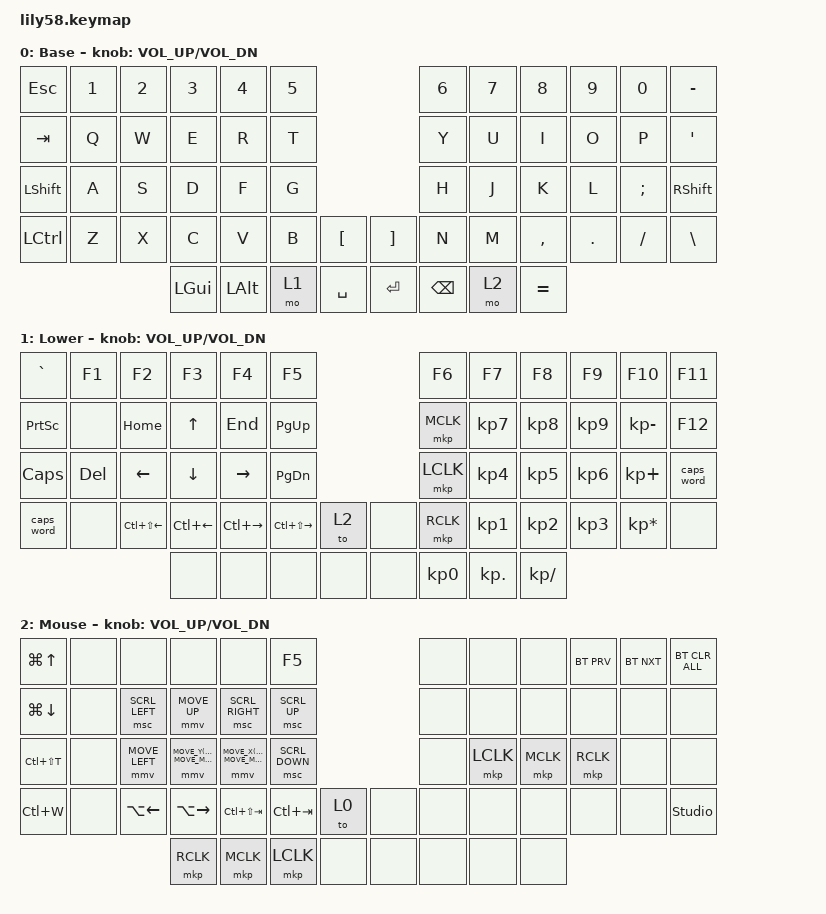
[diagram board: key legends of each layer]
/*
 * Copyright (c) 2020 The ZMK Contributors
 *
 * SPDX-License-Identifier: MIT
 */

#define default_layer 0
#define lower_layer 1
#define raise_layer 2
#define adjust_layer 3
#define extra_layer 4

//mouse movement code

#include <dt-bindings/zmk/mouse.h>
#include <behaviors.dtsi>
#include <dt-bindings/zmk/bt.h>
#include <dt-bindings/zmk/keys.h>
#include <dt-bindings/zmk/pointing.h>

#define MOUSE_TIME_TO_MAX_SPEED 750 //ms
#define U_MOUSE_MOVE_MAX 1500

#undef MOVE_UP
#undef MOVE_DOWN
#undef MOVE_LEFT
#undef MOVE_RIGHT

#define MOVE_UP MOVE_Y(-U_MOUSE_MOVE_MAX)
#define MOVE_DOWN MOVE_Y(U_MOUSE_MOVE_MAX)
#define MOVE_LEFT MOVE_X(-U_MOUSE_MOVE_MAX)
#define MOVE_RIGHT MOVE_X(U_MOUSE_MOVE_MAX)

&mmv { time-to-max-speed-ms = <MOUSE_TIME_TO_MAX_SPEED>; };

//end mouse movement code

/ {
    macros {
        Keyboard_Shortcuts: Keyboard_Shortcuts {
            compatible = "zmk,behavior-macro";
            #binding-cells = <0>;
            bindings = <&kp H &kp T &kp T &kp P &kp S &kp COLON &kp FSLH &kp FSLH &kp E &kp N &kp DOT &kp W &kp I &kp K &kp I &kp P &kp E &kp D &kp I &kp A &kp DOT &kp O &kp R &kp G &kp FSLH &kp W &kp I &kp K &kp I &kp FSLH &kp T &kp A &kp B &kp L &kp E &kp UNDER &kp O &kp F &kp UNDER &kp K &kp E &kp Y &kp B &kp O &kp A &kp R &kp D &kp UNDER &kp S &kp H &kp O &kp R &kp T &kp C &kp U &kp T &kp S>;
            label = "KEYBOARD_SHORTCUTS";
        };
    };

    keymap {
        compatible = "zmk,keymap";

        default_layer {
            display-name = "Base";

            // ------------------------------------------------------------------------------------------------------------
            // |  ESC  |  1  |  2  |  3   |  4   |  5   |                   |  6   |  7    |  8    |  9   |   0   |   `   |
            // |  TAB  |  Q  |  W  |  E   |  R   |  T   |                   |  Y   |  U    |  I    |  O   |   P   |   -   |
            // |  CTRL |  A  |  S  |  D   |  F   |  G   |                   |  H   |  J    |  K    |  L   |   ;   |   '   |
            // | SHIFT |  Z  |  X  |  C   |  V   |  B   |   "["  |  |  "]"  |  N   |  M    |  ,    |  .   |   /   | SHIFT |
            //                     | ALT  | GUI  | LOWER|  SPACE |  | ENTER | RAISE| BSPC  | GUI   |

            bindings = <
&kp ESC           &kp N1  &kp N2  &kp N3        &kp N4        &kp N5                         &kp N6         &kp N7  &kp N8     &kp N9   &kp N0    &kp MINUS
&kp TAB           &kp Q   &kp W   &kp E         &kp R         &kp T                          &kp Y          &kp U   &kp I      &kp O    &kp P     &kp APOS
&kp LEFT_SHIFT    &kp A   &kp S   &kp D         &kp F         &kp G                          &kp H          &kp J   &kp K      &kp L    &kp SEMI  &kp RIGHT_SHIFT
&kp LEFT_CONTROL  &kp Z   &kp X   &kp C         &kp V         &kp B   &kp LBKT     &kp RBKT  &kp N          &kp M   &kp COMMA  &kp DOT  &kp FSLH  &kp BSLH
                                  &kp LEFT_GUI  &kp LEFT_ALT  &mo 1   &kp SPACE    &kp RET   &kp BACKSPACE  &mo 2   &kp EQUAL
            >;

            sensor-bindings = <&inc_dec_kp C_VOL_UP C_VOL_DN>;
        };

        Lower_Layer {
            display-name = "Lower";

            // ------------------------------------------------------------------------------------------------------------
            // | BTCLR | BT1 | BT2 |  BT3 |  BT4 |  BT5 |                   |      |       |       |      |       |       |
            // |  F1   |  F2 |  F3 |  F4  |  F5  |  F6  |                   |  F7  |  F8   |  F9   |  F10 |  F11  |  F12  |
            // |   `   |  !  |  @  |  #   |  $   |  %   |                   |  ^   |  &    |  *    |  (   |   )   |   ~   |
            // |       |     |     |      |      |      |        |  |       |      |  _    |  +    |  {   |   }   |  "|"  |
            //                     |      |      |      |        |  |       |      |       |       |

            bindings = <
&kp GRAVE        &kp F1      &kp F2                  &kp F3              &kp F4               &kp F5                                   &kp F6     &kp F7      &kp F8         &kp F9     &kp F10          &kp F11
&kp PRINTSCREEN  &none       &kp HOME                &kp UP_ARROW        &kp END              &kp PAGE_UP                              &mkp MCLK  &kp KP_N7   &kp KP_N8      &kp KP_N9  &kp KP_MINUS     &kp F12
&kp CAPS         &kp DELETE  &kp LEFT                &kp DOWN_ARROW      &kp RIGHT_ARROW      &kp PAGE_DOWN                            &mkp LCLK  &kp KP_N4   &kp KP_N5      &kp KP_N6  &kp KP_PLUS      &caps_word
&caps_word       &none       &kp LC(LS(LEFT_ARROW))  &kp LC(LEFT_ARROW)  &kp LC(RIGHT_ARROW)  &kp LC(LS(RIGHT_ARROW))  &to 2    &none  &mkp RCLK  &kp KP_N1   &kp KP_N2      &kp KP_N3  &kp KP_MULTIPLY  &none
                                                     &none               &none                &none                    &none    &none  &kp KP_N0  &kp KP_DOT  &kp KP_DIVIDE
            >;

            sensor-bindings = <&inc_dec_kp C_VOL_UP C_VOL_DN>;
        };

        Mouse_Layer {
            display-name = "Mouse";

            // ------------------------------------------------------------------------------------------------------------
            // |       |     |     |      |      |      |                   |      |       |       |      |       |       |
            // |   `   |  1  |  2  |  3   |  4   |  5   |                   |  6   |   7   |   8   |  9   |   0   |       |
            // |   F1  |  F2 |  F3 |  F4  |  F5  |  F6  |                   |      |   <-  |   v   |  ^   |  ->   |       |
            // |   F7  |  F8 |  F9 |  F10 |  F11 |  F12 |        |  |       |  +   |   -   |   =   |  [   |   ]   |   \   |
            //                     |      |      |      |        |  |       |      |       |       |

            bindings = <
&kp LG(UP_ARROW)  &none  &none               &none                &none            &kp F5                          &none  &none      &none      &bt BT_PRV  &bt BT_NXT  &bt BT_CLR_ALL
&kp LG(DOWN)      &none  &msc SCRL_LEFT      &mmv MOVE_UP         &msc SCRL_RIGHT  &msc SCRL_UP                    &none  &none      &none      &none       &none       &none
&kp LC(LS(T))     &none  &mmv MOVE_LEFT      &mmv MOVE_DOWN       &mmv MOVE_RIGHT  &msc SCRL_DOWN                  &none  &mkp LCLK  &mkp MCLK  &mkp RCLK   &none       &none
&kp LC(W)         &none  &kp LA(LEFT_ARROW)  &kp LA(RIGHT_ARROW)  &kp LC(LS(TAB))  &kp LC(TAB)     &to 0    &none  &none  &none      &none      &none       &none       &studio_unlock
                                             &mkp RCLK            &mkp MCLK        &mkp LCLK       &none    &none  &none  &none      &none
            >;

            sensor-bindings = <&inc_dec_kp C_VOL_UP C_VOL_DN>;
        };
    };
};
